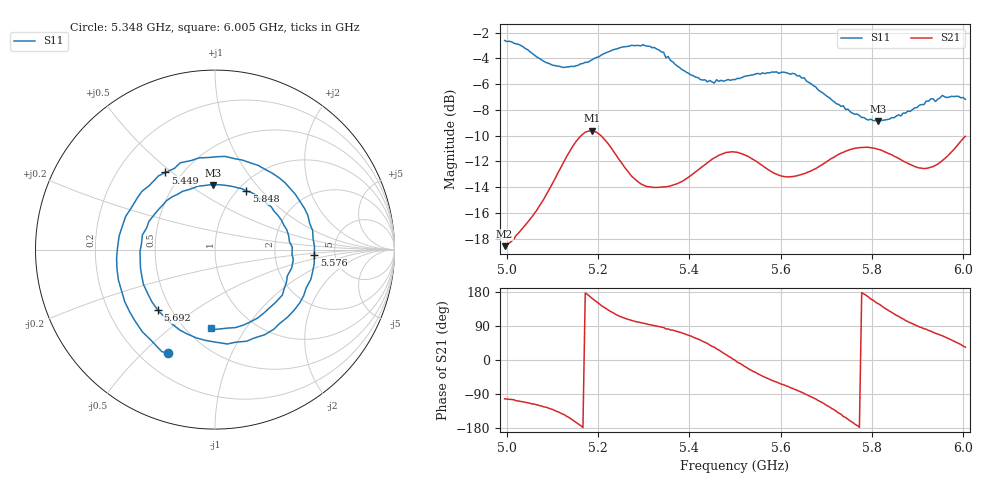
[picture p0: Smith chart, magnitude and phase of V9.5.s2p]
!File created by NanoVNA
# Hz S RI R 50
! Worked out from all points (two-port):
!   201 points, 4.995 GHz to 6.005 GHz, reference 50 ohm
!   highest |S21| = -9.62 dB at 5.187 GHz (marker M1); lowest = -18.6 dB at 4.995 GHz (marker M2)
!   |S21| within 3 dB of the highest: 5.42 GHz to 5.572 GHz (152 MHz wide, 2.77 % of centre); 5.673 GHz to end of sweep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
!   lowest |S11| = -8.9 dB at 5.813 GHz (marker M3), VSWR 2.13, Z = 37.9 + j31.4 ohm
!   |S11| at or under -10 dB: nowhere
!   S12 and S22 are empty: the file has one direction only
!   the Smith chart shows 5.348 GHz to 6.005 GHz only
!   S11 on the Smith chart (normalised r, x): 5.348 GHz: 0.31, -0.60; 5.449 GHz: 0.41, +0.47; 5.576 GHz: 3.46, -0.29; 5.692 GHz: 0.42, -0.37; 5.848 GHz: 1.10, +0.83; 6.005 GHz: 0.66, -0.71
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4.995e9  0.2055 -0.7111  -0.0254 -0.115  0 0  0 0
5.03035e9  -0.3033 -0.6394  -0.0452 -0.1278  0 0  0 0
5.0758e9  -0.6158 -0.0908  -0.0904 -0.1483  0 0  0 0
5.1263e9  -0.3559 0.46  -0.2068 -0.1461  0 0  0 0
5.1667e9  0.0798 0.5972  -0.3208 -0.01  0 0  0 0
5.1869e9  0.2977 0.5475  -0.3154 0.0978  0 0  0 0
5.2576e9  0.689 -0.1225  -0.084 0.2236  0 0  0 0
5.33335e9  -0.0344 -0.6791  0.00578 0.1992  0 0  0 0
5.3485e9  -0.263 -0.5769  0.0281 0.1982  0 0  0 0
5.399e9  -0.5483 -0.0488  0.0932 0.1977  0 0  0 0
5.4495e9  -0.2765 0.43  0.2066 0.151  0 0  0 0
5.5e9  0.1934 0.4845  0.273 -0.00233  0 0  0 0
5.57575e9  0.5536 -0.0285  0.1462 -0.1797  0 0  0 0
5.6313e9  0.2758 -0.4747  0.0468 -0.215  0 0  0 0
5.6717e9  -0.1582 -0.4686  -0.0399 -0.2299  0 0  0 0
5.6919e9  -0.3179 -0.3379  -0.0945 -0.2258  0 0  0 0
5.73735e9  -0.4046 0.0817  -0.2334 -0.1403  0 0  0 0
5.8131e9  -0.00904 0.3603  -0.2399 0.1443  0 0  0 0
5.83835e9  0.122 0.3455  -0.1694 0.2086  0 0  0 0
5.84845e9  0.1754 0.3269  -0.1389 0.2236  0 0  0 0
5.92925e9  0.4364 -0.0546  0.057 0.2315  0 0  0 0
6.005e9  -0.0202 -0.4366  0.261 0.1748  0 0  0 0
